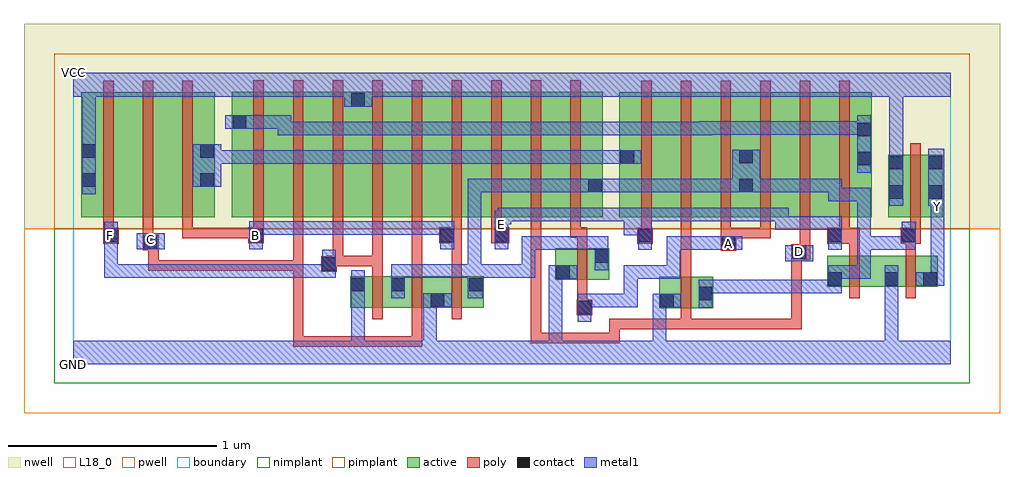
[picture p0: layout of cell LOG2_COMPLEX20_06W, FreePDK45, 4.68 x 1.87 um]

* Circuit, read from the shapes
.subckt LOG2_COMPLEX20_06W A B C D E F GND VCC Y
M1 n1 F GND VSUBS nfet w=0.15u l=0.05u
M2 GND C n1 VSUBS nfet w=0.15u l=0.05u
M3 n1 B GND VSUBS nfet w=0.15u l=0.05u
M4 n1 A GND VSUBS nfet w=0.15u l=0.05u
M5 n1 D GND VSUBS nfet w=0.15u l=0.05u
M6 GND E n1 VSUBS nfet w=0.15u l=0.05u
M7 Y n1 GND VSUBS nfet w=0.15u l=0.05u
M8 n2 F VCC n3 pfet w=0.6u l=0.05u
M9 n4 C n2 n3 pfet w=0.6u l=0.05u
M10 n5 B n4 n3 pfet w=0.6u l=0.05u
M11 n6 B n7 n3 pfet w=0.6u l=0.05u
M12 n8 C n6 n3 pfet w=0.6u l=0.05u
M13 VCC F n8 n3 pfet w=0.6u l=0.05u
M14 n9 F VCC n3 pfet w=0.6u l=0.05u
M15 n10 C n9 n3 pfet w=0.6u l=0.05u
M16 n11 B n10 n3 pfet w=0.6u l=0.05u
M17 n12 E n11 n3 pfet w=0.6u l=0.05u
M18 n13 D n12 n3 pfet w=0.6u l=0.05u
M19 n1 A n13 n3 pfet w=0.6u l=0.05u
M20 n14 E n5 n3 pfet w=0.6u l=0.05u
M21 n15 D n14 n3 pfet w=0.6u l=0.05u
M22 n1 A n15 n3 pfet w=0.6u l=0.05u
M23 n16 A n1 n3 pfet w=0.6u l=0.05u
M24 n17 D n16 n3 pfet w=0.6u l=0.05u
M25 n7 E n17 n3 pfet w=0.6u l=0.05u
M26 Y n1 VCC n3 pfet w=0.3u l=0.05u
.ends

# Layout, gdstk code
import gdstk
lib = gdstk.Library(unit=1e-6, precision=1e-09)
def R(c, l, rs):  # rectangles x0, y0, x1, y1
    for r in rs: c.add(gdstk.rectangle(r[:2], r[2:], *l))
def A(c, l, x, y, w, h, nx, ny, dx, dy):  # array of equal rectangles
    R(c, l, [(x+i*dx, y+j*dy, x+i*dx+w, y+j*dy+h) for i in range(nx) for j in range(ny)])
active = (1, 0)
pwell = (2, 0)
nwell = (3, 0)
nimplant = (4, 0)
pimplant = (5, 0)
poly = (9, 0)
contact = (10, 0)
metal1 = (11, 0)
L18_0 = (18, 0)
boundary = (235, 0)

log2_complex20_06w = lib.new_cell('LOG2_COMPLEX20_06W')
A(log2_complex20_06w, active, 1.555, 0.707, 0.19, 0.6, 4, 1, 0.19, 0)
R(log2_complex20_06w, active, [(2.81,0.27,3.07,0.42), (2.81,0.27,2.885,0.345), (2.995,0.27,3.07,0.42), (1.33,0.272,1.595,0.422), (1.52,0.272,1.785,0.422), (1.71,0.272,1.97,0.422), (1.71,0.272,1.785,0.397), (1.33,0.347,1.405,0.422), (1.52,0.347,1.595,0.422), (1.895,0.347,1.97,0.422), (3.617,0.372,3.692,0.522), (3.617,0.372,3.962,0.522), (3.887,0.372,4.147,0.522), (3.887,0.372,3.962,0.447), (4.072,0.372,4.147,0.522), (2.312,0.407,2.572,0.557), (2.312,0.407,2.387,0.482), (2.497,0.407,2.572,0.557), (0.04,0.705,0.265,1.305), (0.04,0.705,0.115,1.305), (0.265,0.705,0.455,1.305), (0.455,0.705,0.68,1.305), (0.605,0.705,0.68,1.2), (2.62,0.705,2.845,1.305), (2.845,0.705,3.035,1.305), (3.035,0.705,3.265,1.305), (3.19,0.705,3.415,1.305), (3.19,0.705,3.265,1.07), (3.415,0.705,3.605,1.305), (3.605,0.705,3.83,1.305), (3.755,0.705,3.83,1.2), (3.91,0.705,3.985,1.005), (3.91,0.705,4.17,1.005), (4.095,0.705,4.17,1.005), (0.76,0.707,0.985,1.307), (0.76,0.707,0.865,1.2), (0.985,0.707,1.175,1.307), (1.175,0.707,1.405,1.307), (1.33,0.707,1.555,1.307), (1.33,0.707,1.405,1.307), (2.315,0.707,2.54,1.307), (2.465,0.707,2.54,0.94), (2.62,0.707,2.725,1.07)])
R(log2_complex20_06w, pwell, [(-0.235,-0.235,4.445,0.65)])
R(log2_complex20_06w, nwell, [(-0.235,0.65,4.445,1.635)])
R(log2_complex20_06w, nimplant, [(-0.09,-0.09,4.3,0.65)])
R(log2_complex20_06w, pimplant, [(-0.09,0.65,4.3,1.49)])
A(log2_complex20_06w, poly, 1.435, 0.217, 0.05, 0.26, 3, 1, 0.19, 0)
A(log2_complex20_06w, poly, 1.245, 0.472, 0.05, 0.05, 3, 1, 0.19, 0)
A(log2_complex20_06w, poly, 1.245, 0.472, 0.05, 0.23, 3, 1, 0.19, 0)
A(log2_complex20_06w, poly, 2.725, 0.605, 0.05, 0.095, 4, 1, 0.19, 0)
A(log2_complex20_06w, poly, 0.145, 0.65, 0.05, 0.71, 3, 1, 0.19, 0)
A(log2_complex20_06w, poly, 2.725, 0.65, 0.05, 0.71, 6, 1, 0.19, 0)
A(log2_complex20_06w, poly, 0.865, 0.652, 0.05, 0.71, 9, 1, 0.19, 0)
R(log2_complex20_06w, poly, [(1.055,0.085,1.105,0.135), (1.055,0.085,1.28,0.135), (1.055,0.085,1.105,0.5), (1.23,0.085,1.28,0.135), (1.23,0.085,1.427,0.135), (1.377,0.085,1.427,0.135), (1.377,0.085,1.427,0.135), (1.377,0.085,1.427,0.135), (1.377,0.085,1.675,0.135), (1.625,0.085,1.675,0.135), (1.625,0.085,1.675,0.135), (1.625,0.085,1.675,0.135), (1.625,0.085,1.675,0.267), (2.195,0.102,2.245,0.152), (2.195,0.102,2.245,0.152), (2.195,0.102,2.245,0.152), (2.195,0.102,2.245,0.152), (2.195,0.102,2.245,0.152), (2.195,0.102,2.245,0.152), (2.195,0.102,2.245,0.152), (2.195,0.102,2.245,0.152), (2.195,0.102,2.245,0.152), (2.195,0.102,2.245,0.152), (2.195,0.102,2.245,0.152), (2.195,0.102,2.49,0.152), (2.195,0.102,2.245,0.702), (2.44,0.102,2.49,0.152), (2.44,0.102,2.622,0.152), (2.572,0.102,2.622,0.152), (2.572,0.102,2.622,0.22), (2.572,0.17,2.622,0.22), (2.572,0.17,2.622,0.22), (2.572,0.17,2.622,0.22), (2.572,0.17,2.755,0.22), (2.705,0.17,2.755,0.22), (2.705,0.17,2.755,0.22), (2.705,0.17,2.755,0.22), (2.705,0.17,2.965,0.22), (2.915,0.17,2.965,0.265), (2.915,0.17,2.965,0.22), (2.915,0.17,2.965,0.22), (2.915,0.17,2.965,0.22), (2.915,0.17,3.17,0.22), (3.12,0.17,3.17,0.22), (3.12,0.17,3.17,0.22), (3.12,0.17,3.17,0.22), (3.12,0.17,3.312,0.22), (3.262,0.17,3.312,0.22), (3.262,0.17,3.495,0.22), (3.445,0.17,3.495,0.22), (3.445,0.17,3.495,0.22), (3.445,0.17,3.495,0.22), (3.445,0.17,3.495,0.22), (3.445,0.17,3.495,0.22), (3.445,0.17,3.495,0.552), (2.915,0.215,2.965,0.475), (2.415,0.235,2.49,0.31), (2.417,0.26,2.467,0.402), (3.722,0.317,3.772,0.577), (3.992,0.317,4.042,0.577), (2.417,0.352,2.467,0.612), (2.915,0.425,2.965,0.655), (1.435,0.427,1.485,0.522), (1.625,0.427,1.675,0.522), (1.815,0.427,1.865,0.632), (1.19,0.445,1.265,0.52), (0.36,0.45,0.41,0.5), (0.36,0.45,0.41,0.5), (0.36,0.45,0.41,0.5), (0.36,0.45,0.542,0.5), (0.36,0.45,0.41,0.597), (0.492,0.45,0.542,0.5), (0.492,0.45,0.542,0.5), (0.492,0.45,0.542,0.5), (0.492,0.45,0.707,0.5), (0.657,0.45,0.707,0.5), (0.657,0.45,0.84,0.5), (0.79,0.45,0.84,0.5), (0.79,0.45,0.84,0.5), (0.79,0.45,0.84,0.5), (0.79,0.45,1.105,0.5), (1.055,0.45,1.105,0.5), (1.055,0.45,1.105,0.5), (1.055,0.45,1.105,0.5), (1.055,0.45,1.105,0.5), (1.055,0.45,1.105,0.5), (1.055,0.45,1.105,0.5), (1.055,0.45,1.105,0.5), (1.055,0.45,1.105,0.702), (1.215,0.47,1.265,0.52), (1.215,0.47,1.265,0.522), (1.215,0.472,1.265,0.522), (1.215,0.472,1.295,0.522), (1.245,0.472,1.295,0.522), (1.245,0.472,1.485,0.522), (3.445,0.502,3.495,0.552), (3.445,0.502,3.495,0.552), (3.445,0.502,3.535,0.577), (3.485,0.527,3.535,0.7), (3.722,0.527,3.772,0.63), (3.992,0.527,4.042,0.63), (3.105,0.545,3.18,0.655), (0.335,0.547,0.41,0.622), (0.36,0.547,0.41,0.597), (0.36,0.547,0.41,0.597), (2.417,0.562,2.467,0.657), (0.335,0.572,0.385,0.7), (0.145,0.58,0.22,0.655), (2.705,0.58,2.78,0.655), (3.617,0.58,3.772,0.655), (3.97,0.58,4.065,0.655), (0.84,0.582,0.915,0.657), (1.757,0.582,1.865,0.657), (2.005,0.582,2.092,0.657), (0.145,0.605,0.195,0.7), (0.525,0.605,0.575,0.7), (0.525,0.605,0.575,0.655), (0.525,0.605,0.707,0.655), (0.657,0.605,0.707,0.655), (0.657,0.605,0.707,0.655), (0.657,0.605,0.707,0.655), (0.657,0.605,0.89,0.655), (2.915,0.605,2.965,0.655), (3.13,0.605,3.345,0.655), (3.295,0.605,3.345,0.655), (3.295,0.605,3.345,0.655), (3.295,0.605,3.345,0.655), (3.675,0.605,3.725,0.7), (4.015,0.605,4.065,0.7), (0.865,0.607,0.915,0.702), (1.815,0.607,1.865,0.702), (2.005,0.607,2.055,0.702), (2.385,0.607,2.435,0.702), (2.385,0.607,2.467,0.657), (4.015,0.65,4.065,1.06)])
R(log2_complex20_06w, contact, [(2.42,0.24,2.485,0.305), (2.815,0.275,2.88,0.34), (1.715,0.277,1.78,0.342), (3,0.307,3.065,0.372), (1.335,0.352,1.4,0.417), (1.525,0.352,1.59,0.417), (1.9,0.352,1.965,0.417), (3.622,0.377,3.687,0.442), (3.892,0.377,3.957,0.442), (4.077,0.377,4.142,0.442), (2.317,0.412,2.382,0.477), (1.195,0.45,1.26,0.515), (2.502,0.487,2.567,0.552), (3.45,0.507,3.515,0.572), (3.11,0.55,3.175,0.615), (0.34,0.552,0.405,0.617), (0.15,0.585,0.215,0.65), (2.71,0.585,2.775,0.65), (3.622,0.585,3.687,0.65), (3.975,0.585,4.04,0.65), (0.845,0.587,0.91,0.652), (1.762,0.587,1.827,0.652), (2.022,0.587,2.087,0.652), (3.915,0.795,3.98,0.86), (4.1,0.795,4.165,0.86), (2.47,0.825,2.535,0.89), (3.195,0.825,3.26,0.89), (0.045,0.852,0.11,0.917), (0.61,0.852,0.675,0.917), (3.915,0.935,3.98,1), (4.1,0.935,4.165,1), (3.76,0.955,3.825,1.02), (2.625,0.962,2.69,1.027), (3.195,0.965,3.26,1.03), (0.045,0.992,0.11,1.057), (0.61,0.992,0.675,1.057), (3.76,1.095,3.825,1.16), (0.765,1.13,0.83,1.195), (1.335,1.237,1.4,1.302)])
R(log2_complex20_06w, metal1, [(0,0,4.21,0.115), (1.335,0.05,1.4,0.115), (1.335,0.05,1.4,0.115), (1.335,0.05,1.4,0.382), (1.68,0.05,1.745,0.115), (1.68,0.05,1.745,0.115), (1.68,0.05,1.745,0.115), (1.68,0.05,1.745,0.115), (1.68,0.05,1.745,0.115), (1.68,0.05,1.745,0.115), (1.68,0.05,1.745,0.342), (2.282,0.05,2.347,0.115), (2.282,0.05,2.347,0.115), (2.282,0.05,2.347,0.115), (2.282,0.05,2.347,0.115), (2.282,0.05,2.347,0.115), (2.282,0.05,2.347,0.115), (2.282,0.05,2.347,0.477), (2.78,0.05,2.845,0.115), (2.78,0.05,2.845,0.115), (2.78,0.05,2.845,0.115), (2.78,0.05,2.845,0.115), (2.78,0.05,2.845,0.115), (2.78,0.05,2.845,0.115), (2.78,0.05,2.845,0.34), (3.892,0.05,3.957,0.115), (3.892,0.05,3.957,0.115), (3.892,0.05,3.957,0.34), (2.42,0.205,2.485,0.34), (3,0.272,3.065,0.407), (2.42,0.275,2.57,0.34), (2.505,0.275,2.57,0.34), (2.505,0.275,2.57,0.34), (2.505,0.275,2.57,0.34), (2.505,0.275,2.707,0.34), (2.642,0.275,2.707,0.34), (2.642,0.275,2.707,0.477), (2.78,0.275,2.915,0.34), (3.892,0.275,3.957,0.34), (3.892,0.275,3.957,0.34), (3.892,0.275,3.957,0.34), (3.892,0.275,3.957,0.407), (1.68,0.277,1.815,0.342), (1.335,0.317,1.4,0.382), (1.335,0.317,1.4,0.382), (1.335,0.317,1.4,0.382), (1.335,0.317,1.4,0.382), (1.335,0.317,1.4,0.452), (1.525,0.317,1.59,0.452), (1.892,0.317,1.965,0.48), (3,0.342,3.065,0.407), (3,0.342,3.065,0.407), (3,0.342,3.202,0.407), (3.137,0.342,3.202,0.407), (3.137,0.342,3.202,0.407), (3.137,0.342,3.202,0.407), (3.137,0.342,3.432,0.407), (3.367,0.342,3.432,0.407), (3.367,0.342,3.432,0.407), (3.367,0.342,3.432,0.407), (3.367,0.342,3.687,0.407), (3.622,0.342,3.687,0.477), (3.892,0.342,3.957,0.477), (4.042,0.377,4.177,0.442), (4.112,0.377,4.177,0.755), (1.525,0.387,1.59,0.452), (1.525,0.387,1.59,0.48), (2.282,0.412,2.417,0.477), (2.642,0.412,2.707,0.477), (2.642,0.412,2.707,0.477), (2.642,0.412,2.707,0.477), (2.642,0.412,2.912,0.477), (2.847,0.412,2.912,0.477), (2.847,0.412,2.912,0.615), (3.622,0.412,3.687,0.477), (3.622,0.412,3.687,0.477), (3.622,0.412,3.825,0.477), (3.76,0.412,3.825,0.477), (3.76,0.412,3.825,0.615), (0.15,0.415,0.215,0.48), (0.15,0.415,0.215,0.615), (0.15,0.415,0.435,0.48), (0.37,0.415,0.435,0.48), (0.37,0.415,0.435,0.48), (0.37,0.415,0.435,0.48), (0.37,0.415,0.572,0.48), (0.507,0.415,0.572,0.48), (0.507,0.415,0.572,0.48), (0.507,0.415,0.572,0.48), (0.507,0.415,0.572,0.48), (0.507,0.415,0.572,0.48), (0.507,0.415,0.91,0.48), (0.845,0.415,0.91,0.48), (0.845,0.415,0.91,0.48), (0.845,0.415,0.91,0.48), (0.845,0.415,1.047,0.48), (0.982,0.415,1.047,0.48), (0.982,0.415,1.047,0.48), (0.982,0.415,1.047,0.48), (0.982,0.415,1.185,0.48), (1.12,0.415,1.185,0.48), (1.12,0.415,1.26,0.48), (1.195,0.415,1.26,0.55), (1.525,0.415,1.82,0.48), (1.755,0.415,1.82,0.48), (1.755,0.415,1.82,0.48), (1.755,0.415,1.82,0.48), (1.755,0.415,1.957,0.48), (1.892,0.415,1.957,0.89), (1.9,0.415,1.965,0.48), (1.9,0.415,1.965,0.48), (1.9,0.415,2.102,0.48), (2.037,0.415,2.102,0.48), (2.037,0.415,2.217,0.48), (2.152,0.415,2.217,0.615), (2.502,0.452,2.567,0.615), (3.415,0.495,3.55,0.572), (0.15,0.55,0.215,0.615), (0.15,0.55,0.215,0.615), (0.15,0.55,0.215,0.685), (2.152,0.55,2.362,0.615), (2.297,0.55,2.362,0.615), (2.297,0.55,2.517,0.615), (2.452,0.55,2.517,0.615), (2.452,0.55,2.567,0.615), (2.71,0.55,2.775,0.685), (2.847,0.55,2.912,0.615), (2.847,0.55,2.912,0.615), (2.847,0.55,2.912,0.615), (2.847,0.55,3.065,0.615), (3,0.55,3.065,0.615), (3,0.55,3.14,0.615), (3.075,0.55,3.21,0.615), (3.622,0.55,3.687,0.685), (3.76,0.55,3.825,0.615), (3.76,0.55,3.825,0.615), (3.76,0.55,3.825,0.615), (3.76,0.55,4.04,0.615), (3.76,0.55,3.825,0.847), (3.975,0.55,4.04,0.685), (0.305,0.552,0.44,0.63), (0.845,0.552,0.91,0.687), (1.762,0.552,1.827,0.687), (2.022,0.552,2.087,0.737), (2.642,0.62,2.707,0.752), (2.642,0.62,2.775,0.685), (3.622,0.62,3.687,0.685), (3.622,0.62,3.687,0.685), (3.622,0.62,3.687,0.71), (0.845,0.622,1.047,0.687), (0.982,0.622,1.047,0.687), (0.982,0.622,1.047,0.687), (0.982,0.622,1.047,0.687), (0.982,0.622,1.185,0.687), (1.12,0.622,1.185,0.687), (1.12,0.622,1.185,0.687), (1.12,0.622,1.185,0.687), (1.12,0.622,1.452,0.687), (1.387,0.622,1.452,0.687), (1.387,0.622,1.452,0.687), (1.387,0.622,1.452,0.687), (1.387,0.622,1.59,0.687), (1.525,0.622,1.59,0.687), (1.525,0.622,1.59,0.687), (1.525,0.622,1.59,0.687), (1.525,0.622,1.727,0.687), (1.662,0.622,1.727,0.687), (1.662,0.622,1.827,0.687), (3.367,0.645,3.432,0.71), (3.367,0.645,3.432,0.71), (3.367,0.645,3.687,0.71), (3.367,0.645,3.432,0.752), (3.622,0.645,3.687,0.71), (2.022,0.672,2.102,0.737), (2.037,0.672,2.102,0.752), (2.037,0.687,2.24,0.752), (2.175,0.687,2.24,0.752), (2.175,0.687,2.24,0.752), (2.175,0.687,2.24,0.752), (2.175,0.687,2.517,0.752), (2.452,0.687,2.517,0.752), (2.452,0.687,2.517,0.752), (2.452,0.687,2.517,0.752), (2.452,0.687,2.707,0.752), (2.642,0.687,2.707,0.752), (2.642,0.687,2.707,0.752), (2.642,0.687,2.707,0.752), (2.642,0.687,2.707,0.752), (2.642,0.687,2.912,0.752), (2.847,0.687,2.912,0.752), (2.847,0.687,2.912,0.752), (2.847,0.687,2.912,0.752), (2.847,0.687,3.065,0.752), (3,0.687,3.065,0.752), (3,0.687,3.065,0.752), (3,0.687,3.065,0.752), (3,0.687,3.202,0.752), (3.137,0.687,3.202,0.752), (3.137,0.687,3.202,0.752), (3.137,0.687,3.202,0.752), (3.137,0.687,3.432,0.752), (4.112,0.69,4.177,0.825), (3.915,0.76,3.98,1.035), (4.1,0.76,4.177,1.035), (4.112,0.76,4.177,0.825), (3.622,0.782,3.687,0.847), (3.622,0.782,3.687,0.847), (3.622,0.782,3.825,0.847), (3.622,0.782,3.687,0.89), (3.76,0.782,3.825,0.847), (3.76,0.782,3.825,0.847), (3.76,0.782,3.825,0.847), (0.045,0.817,0.11,1.092), (1.892,0.825,1.957,0.89), (1.892,0.825,1.957,0.89), (1.892,0.825,1.957,0.89), (1.892,0.825,2.08,0.89), (2.015,0.825,2.08,0.89), (2.015,0.825,2.102,0.89), (2.037,0.825,2.102,0.89), (2.037,0.825,2.347,0.89), (2.282,0.825,2.347,0.89), (2.282,0.825,2.347,0.89), (2.282,0.825,2.347,0.89), (2.282,0.825,2.5,0.89), (2.435,0.825,2.5,0.89), (2.435,0.825,2.5,0.89), (2.435,0.825,2.57,0.89), (2.505,0.825,2.57,0.89), (2.505,0.825,2.57,0.89), (2.505,0.825,2.707,0.89), (2.642,0.825,2.707,0.89), (2.642,0.825,2.707,0.89), (2.642,0.825,2.707,0.89), (2.642,0.825,2.912,0.89), (2.847,0.825,2.912,0.89), (2.847,0.825,2.912,0.89), (2.847,0.825,2.912,0.89), (2.847,0.825,3.065,0.89), (3,0.825,3.065,0.89), (3,0.825,3.065,0.89), (3,0.825,3.065,0.89), (3,0.825,3.225,0.89), (3.16,0.825,3.295,1.03), (3.23,0.825,3.295,0.89), (3.23,0.825,3.295,0.89), (3.23,0.825,3.55,0.89), (3.485,0.825,3.55,0.89), (3.485,0.825,3.55,0.89), (3.485,0.825,3.55,0.89), (3.485,0.825,3.687,0.89), (0.575,0.852,0.71,1.057), (3.76,0.92,3.825,1.195), (0.645,0.962,0.71,1.027), (0.645,0.962,0.71,1.027), (0.645,0.962,0.91,1.027), (0.845,0.962,0.91,1.027), (0.845,0.962,1.047,1.027), (0.982,0.962,1.047,1.027), (0.982,0.962,1.047,1.027), (0.982,0.962,1.047,1.027), (0.982,0.962,1.227,1.027), (1.162,0.962,1.227,1.027), (1.162,0.962,1.227,1.027), (1.162,0.962,1.227,1.027), (1.162,0.962,1.397,1.027), (1.332,0.962,1.397,1.027), (1.332,0.962,1.397,1.027), (1.332,0.962,1.397,1.027), (1.332,0.962,1.59,1.027), (1.525,0.962,1.59,1.027), (1.525,0.962,1.59,1.027), (1.525,0.962,1.59,1.027), (1.525,0.962,1.727,1.027), (1.662,0.962,1.727,1.027), (1.662,0.962,1.727,1.027), (1.662,0.962,1.727,1.027), (1.662,0.962,1.957,1.027), (1.892,0.962,1.957,1.027), (1.892,0.962,2.08,1.027), (2.015,0.962,2.08,1.027), (2.015,0.962,2.102,1.027), (2.037,0.962,2.102,1.027), (2.037,0.962,2.347,1.027), (2.282,0.962,2.347,1.027), (2.282,0.962,2.347,1.027), (2.282,0.962,2.347,1.027), (2.282,0.962,2.517,1.027), (2.452,0.962,2.517,1.027), (2.452,0.962,2.517,1.027), (2.452,0.962,2.517,1.027), (2.452,0.962,2.655,1.027), (2.59,0.962,2.725,1.027), (3.915,0.97,3.98,1.35), (0.045,1.027,0.11,1.35), (0.982,1.1,1.047,1.165), (0.982,1.1,1.047,1.165), (0.982,1.1,1.185,1.165), (0.982,1.1,1.047,1.195), (1.12,1.1,1.185,1.165), (1.12,1.1,1.185,1.165), (1.12,1.1,1.185,1.165), (1.12,1.1,1.452,1.165), (1.387,1.1,1.452,1.165), (1.387,1.1,1.452,1.165), (1.387,1.1,1.452,1.165), (1.387,1.1,1.59,1.165), (1.525,1.1,1.59,1.165), (1.525,1.1,1.59,1.165), (1.525,1.1,1.59,1.165), (1.525,1.1,1.727,1.165), (1.662,1.1,1.727,1.165), (1.662,1.1,1.727,1.165), (1.662,1.1,1.727,1.165), (1.662,1.1,1.965,1.165), (1.9,1.1,1.965,1.165), (1.9,1.1,1.965,1.165), (1.9,1.1,1.965,1.165), (1.9,1.1,2.102,1.165), (2.037,1.1,2.102,1.165), (2.037,1.1,2.24,1.165), (2.175,1.1,2.24,1.165), (2.175,1.1,2.24,1.165), (2.175,1.1,2.24,1.165), (2.175,1.1,2.517,1.165), (2.452,1.1,2.517,1.165), (2.452,1.1,2.517,1.165), (2.452,1.1,2.517,1.165), (2.452,1.1,2.707,1.165), (2.642,1.1,2.707,1.165), (2.642,1.1,2.707,1.165), (2.642,1.1,2.707,1.165), (2.642,1.1,2.912,1.165), (2.847,1.1,2.912,1.165), (2.847,1.1,2.912,1.165), (2.847,1.1,2.912,1.165), (2.847,1.1,3.065,1.165), (3,1.1,3.065,1.167), (3,1.102,3.065,1.167), (3,1.102,3.065,1.167), (3,1.102,3.202,1.167), (3.137,1.102,3.202,1.167), (3.137,1.102,3.202,1.167), (3.137,1.102,3.202,1.167), (3.137,1.102,3.55,1.167), (3.485,1.102,3.55,1.167), (3.485,1.102,3.55,1.167), (3.485,1.102,3.55,1.167), (3.485,1.102,3.687,1.167), (3.622,1.102,3.687,1.167), (3.622,1.102,3.687,1.167), (3.622,1.102,3.687,1.167), (3.622,1.102,3.825,1.167), (0.73,1.13,0.865,1.195), (0.8,1.13,0.865,1.195), (0.8,1.13,0.865,1.195), (0.8,1.13,1.047,1.195), (1.3,1.237,1.435,1.302), (1.37,1.237,1.435,1.35), (0,1.285,4.21,1.4), (3.915,1.285,3.98,1.35), (3.915,1.285,3.98,1.35), (3.915,1.285,3.98,1.35), (3.915,1.285,3.98,1.35)])
R(log2_complex20_06w, L18_0, [(0,0,4.21,0.115), (1.335,0.05,1.4,0.115), (1.335,0.05,1.4,0.115), (1.335,0.05,1.4,0.382), (1.68,0.05,1.745,0.115), (1.68,0.05,1.745,0.115), (1.68,0.05,1.745,0.115), (1.68,0.05,1.745,0.115), (1.68,0.05,1.745,0.115), (1.68,0.05,1.745,0.115), (1.68,0.05,1.745,0.342), (2.282,0.05,2.347,0.115), (2.282,0.05,2.347,0.115), (2.282,0.05,2.347,0.115), (2.282,0.05,2.347,0.115), (2.282,0.05,2.347,0.115), (2.282,0.05,2.347,0.115), (2.282,0.05,2.347,0.477), (2.78,0.05,2.845,0.115), (2.78,0.05,2.845,0.115), (2.78,0.05,2.845,0.115), (2.78,0.05,2.845,0.115), (2.78,0.05,2.845,0.115), (2.78,0.05,2.845,0.115), (2.78,0.05,2.845,0.34), (3.892,0.05,3.957,0.115), (3.892,0.05,3.957,0.115), (3.892,0.05,3.957,0.34), (2.42,0.205,2.485,0.34), (2.42,0.275,2.57,0.34), (2.505,0.275,2.57,0.34), (2.505,0.275,2.57,0.34), (2.505,0.275,2.57,0.34), (2.505,0.275,2.707,0.34), (2.642,0.275,2.707,0.34), (2.642,0.275,2.707,0.477), (2.78,0.275,2.915,0.34), (3.892,0.275,3.957,0.34), (3.892,0.275,3.957,0.34), (3.892,0.275,3.957,0.34), (3.892,0.275,3.957,0.407), (1.68,0.277,1.815,0.342), (1.335,0.317,1.4,0.452), (1.335,0.317,1.4,0.382), (1.335,0.317,1.4,0.382), (1.335,0.317,1.4,0.382), (1.335,0.317,1.4,0.382), (3.892,0.342,3.957,0.477), (4.042,0.377,4.177,0.442), (4.112,0.377,4.177,0.755), (2.282,0.412,2.417,0.477), (2.642,0.412,2.707,0.477), (2.642,0.412,2.707,0.477), (2.642,0.412,2.707,0.477), (2.642,0.412,2.912,0.477), (2.847,0.412,2.912,0.477), (2.847,0.412,2.912,0.615), (0.15,0.415,0.215,0.48), (0.15,0.415,0.215,0.615), (0.15,0.415,0.435,0.48), (0.37,0.415,0.435,0.48), (0.37,0.415,0.435,0.48), (0.37,0.415,0.435,0.48), (0.37,0.415,0.572,0.48), (0.507,0.415,0.572,0.48), (0.507,0.415,0.572,0.48), (0.507,0.415,0.572,0.48), (0.507,0.415,0.572,0.48), (0.507,0.415,0.572,0.48), (0.507,0.415,0.91,0.48), (0.845,0.415,0.91,0.48), (0.845,0.415,0.91,0.48), (0.845,0.415,0.91,0.48), (0.845,0.415,1.047,0.48), (0.982,0.415,1.047,0.48), (0.982,0.415,1.047,0.48), (0.982,0.415,1.047,0.48), (0.982,0.415,1.185,0.48), (1.12,0.415,1.185,0.48), (1.12,0.415,1.26,0.48), (1.195,0.415,1.26,0.55), (3.415,0.495,3.55,0.572), (3.45,0.507,3.515,0.572), (0.15,0.55,0.215,0.685), (0.15,0.55,0.215,0.615), (0.15,0.55,0.215,0.615), (2.71,0.55,2.775,0.685), (2.847,0.55,2.912,0.615), (2.847,0.55,2.912,0.615), (2.847,0.55,2.912,0.615), (2.847,0.55,3.065,0.615), (3,0.55,3.065,0.615), (3,0.55,3.14,0.615), (3.075,0.55,3.21,0.615), (3.11,0.55,3.175,0.615), (3.622,0.55,3.687,0.685), (0.305,0.552,0.44,0.63), (0.845,0.552,0.91,0.687), (1.762,0.552,1.827,0.687), (2.022,0.552,2.087,0.737), (0.34,0.565,0.405,0.63), (0.15,0.585,0.215,0.65), (0.845,0.587,0.91,0.652), (2.642,0.62,2.707,0.752), (2.642,0.62,2.775,0.685), (3.622,0.62,3.687,0.685), (3.622,0.62,3.687,0.685), (3.622,0.62,3.687,0.71), (0.845,0.622,1.047,0.687), (0.982,0.622,1.047,0.687), (0.982,0.622,1.047,0.687), (0.982,0.622,1.047,0.687), (0.982,0.622,1.185,0.687), (1.12,0.622,1.185,0.687), (1.12,0.622,1.185,0.687), (1.12,0.622,1.185,0.687), (1.12,0.622,1.452,0.687), (1.387,0.622,1.452,0.687), (1.387,0.622,1.452,0.687), (1.387,0.622,1.452,0.687), (1.387,0.622,1.59,0.687), (1.525,0.622,1.59,0.687), (1.525,0.622,1.59,0.687), (1.525,0.622,1.59,0.687), (1.525,0.622,1.727,0.687), (1.662,0.622,1.727,0.687), (1.662,0.622,1.827,0.687), (2.022,0.637,2.087,0.702), (3.367,0.645,3.432,0.71), (3.367,0.645,3.432,0.71), (3.367,0.645,3.432,0.752), (3.367,0.645,3.687,0.71), (3.622,0.645,3.687,0.71), (2.022,0.672,2.102,0.737), (2.037,0.672,2.102,0.752), (2.037,0.687,2.24,0.752), (2.175,0.687,2.24,0.752), (2.175,0.687,2.24,0.752), (2.175,0.687,2.24,0.752), (2.175,0.687,2.517,0.752), (2.452,0.687,2.517,0.752), (2.452,0.687,2.517,0.752), (2.452,0.687,2.517,0.752), (2.452,0.687,2.707,0.752), (2.642,0.687,2.707,0.752), (2.642,0.687,2.707,0.752), (2.642,0.687,2.707,0.752), (2.642,0.687,2.707,0.752), (2.642,0.687,2.912,0.752), (2.847,0.687,2.912,0.752), (2.847,0.687,2.912,0.752), (2.847,0.687,2.912,0.752), (2.847,0.687,3.065,0.752), (3,0.687,3.065,0.752), (3,0.687,3.065,0.752), (3,0.687,3.065,0.752), (3,0.687,3.202,0.752), (3.137,0.687,3.202,0.752), (3.137,0.687,3.202,0.752), (3.137,0.687,3.202,0.752), (3.137,0.687,3.432,0.752), (4.112,0.69,4.177,0.825), (4.112,0.725,4.177,0.79), (3.915,0.76,3.98,1.035), (4.1,0.76,4.177,1.035), (4.112,0.76,4.177,0.825), (0.045,0.817,0.11,1.092), (3.915,0.97,3.98,1.35), (0.045,1.027,0.11,1.35), (1.3,1.237,1.435,1.302), (1.37,1.237,1.435,1.35), (0,1.285,4.21,1.4), (3.915,1.285,3.98,1.35), (3.915,1.285,3.98,1.35), (3.915,1.285,3.98,1.35), (3.915,1.285,3.98,1.35)])
R(log2_complex20_06w, boundary, [(0,0,4.21,1.4)])
log2_complex20_06w.add(gdstk.Label('A', (3.142,0.582), layer=11, texttype=0))
log2_complex20_06w.add(gdstk.Label('B', (0.877,0.62), layer=11, texttype=0))
log2_complex20_06w.add(gdstk.Label('C', (0.372,0.597), layer=11, texttype=0))
log2_complex20_06w.add(gdstk.Label('D', (3.482,0.54), layer=11, texttype=0))
log2_complex20_06w.add(gdstk.Label('E', (2.055,0.67), layer=11, texttype=0))
log2_complex20_06w.add(gdstk.Label('F', (0.182,0.617), layer=11, texttype=0))
log2_complex20_06w.add(gdstk.Label('Y', (4.145,0.757), layer=11, texttype=0))
log2_complex20_06w.add(gdstk.Label('VCC', (0,1.4), layer=11, texttype=0))
log2_complex20_06w.add(gdstk.Label('GND', (0,0), layer=11, texttype=0))

lib.write_gds('LOG2_COMPLEX20_06W.gds')
